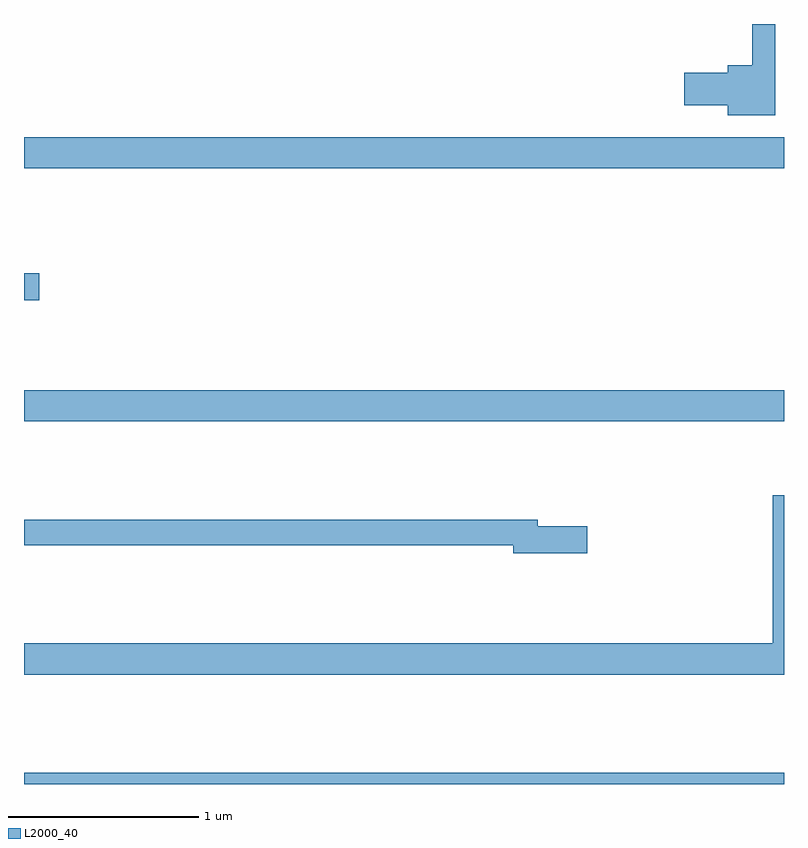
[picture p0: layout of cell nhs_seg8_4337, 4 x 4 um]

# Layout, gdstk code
import gdstk
lib = gdstk.Library(unit=1e-6, precision=1e-09)
def R(c, l, rs):  # rectangles x0, y0, x1, y1
    for r in rs: c.add(gdstk.rectangle(r[:2], r[2:], *l))
def P(c, l, *ps):  # polygons
    for p in ps: c.add(gdstk.Polygon(p, *l))
L2000_40 = (2000, 40)

nhs_seg8_4337 = lib.new_cell('nhs_seg8_4337')
R(nhs_seg8_4337, L2000_40, [(375,1139.9,379,1139.96), (375,1141.808,379,1141.972), (375,1142.446,375.079,1142.588), (375,1143.14,379,1143.304)])
P(nhs_seg8_4337, L2000_40, [(378.955,1143.9),(378.834,1143.9),(378.834,1143.682),(378.704,1143.682),(378.704,1143.644),(378.474,1143.644),(378.474,1143.473),(378.704,1143.473),(378.704,1143.419),(378.955,1143.419)],
  [(379,1141.42),(378.941,1141.42),(378.941,1140.64),(375,1140.64),(375,1140.476),(379,1140.476)],
  [(377.965,1141.256),(377.704,1141.256),(377.704,1141.292),(375,1141.292),(375,1141.156),(377.576,1141.156),(377.576,1141.114),(377.965,1141.114)])

lib.write_gds('nhs_seg8_4337.gds')
